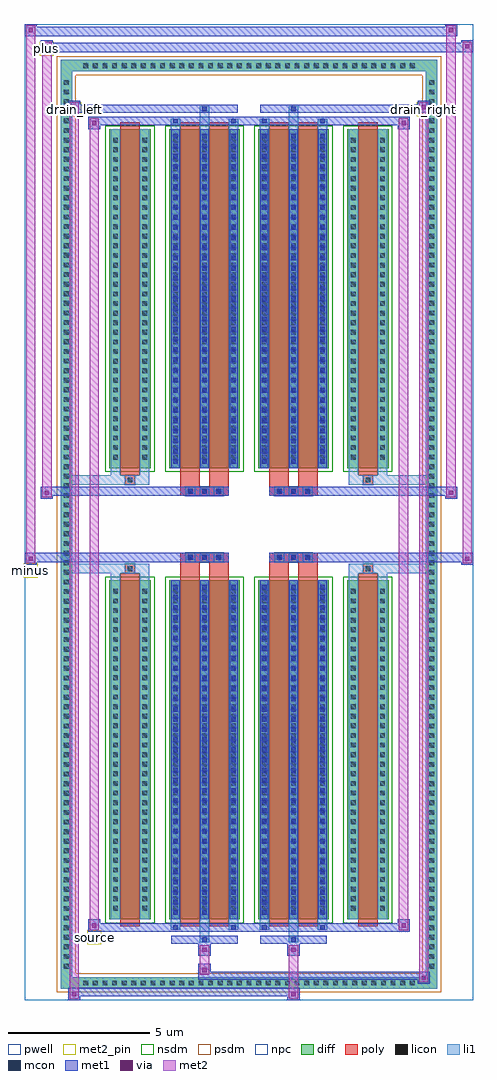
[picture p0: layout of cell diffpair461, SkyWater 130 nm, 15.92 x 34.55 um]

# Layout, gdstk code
import gdstk
lib = gdstk.Library(unit=1e-6, precision=5e-09)
def R(c, l, rs):  # rectangles x0, y0, x1, y1
    for r in rs: c.add(gdstk.rectangle(r[:2], r[2:], *l))
def A(c, l, x, y, w, h, nx, ny, dx, dy):  # array of equal rectangles
    R(c, l, [(x+i*dx, y+j*dy, x+i*dx+w, y+j*dy+h) for i in range(nx) for j in range(ny)])
def P(c, l, *ps):  # polygons
    for p in ps: c.add(gdstk.Polygon(p, *l))
pwell = (64, 44)
diff = (65, 20)
poly = (66, 20)
licon = (66, 44)
li1 = (67, 20)
mcon = (67, 44)
met1 = (68, 20)
via = (68, 44)
met2_pin = (69, 16)
met2 = (69, 20)
nsdm = (93, 44)
psdm = (94, 20)
npc = (95, 20)

diffpair461 = lib.new_cell('diffpair461')
R(diffpair461, pwell, [(-7.94,-16.84,7.94,17.71), (-5.26,-15.03,-0.01,-0.805), (0.01,-15.03,5.26,-0.805), (-5.26,0.805,-0.01,15.03), (0.01,0.805,5.26,15.03)])
A(diffpair461, diff, -5.985, -16.44, 0.41, 0.41, 35, 2, 0.34, 32.47)
A(diffpair461, diff, -6.67, -15.845, 0.41, 0.41, 1, 93, 0, 0.34)
A(diffpair461, diff, 6.26, -15.845, 0.41, 0.41, 1, 93, 0, 0.34)
R(diffpair461, diff, [(-5.985,-16.44,5.985,-16.03), (-6.67,-15.845,-6.26,15.845), (6.26,-15.845,6.67,15.845), (-4.95,-13.985,-3.47,-1.985), (-2.83,-13.985,-0.32,-1.985), (0.32,-13.985,2.83,-1.985), (3.47,-13.985,4.95,-1.985), (-4.95,1.985,-3.47,13.985), (-2.83,1.985,-0.32,13.985), (0.32,1.985,2.83,13.985), (3.47,1.985,4.95,13.985), (-5.985,16.03,5.985,16.44)])
P(diffpair461, diff, [(6.67,16.44),(-6.67,16.44),(-6.67,-16.03),(-6.26,-16.03),(-6.26,16.03),(6.26,16.03),(6.26,-16.03),(-6.26,-16.03),(-6.67,-16.03),(-6.67,-16.44),(6.67,-16.44)])
A(diffpair461, poly, -2.24, -1.335, 0.33, 0.33, 3, 2, 0.5, 2.34)
A(diffpair461, poly, 0.91, -1.335, 0.33, 0.33, 3, 2, 0.5, 2.34)
R(diffpair461, poly, [(-4.56,-14.235,-3.86,-1.735), (-2.44,-14.235,-1.74,-1.735), (-1.41,-14.235,-0.71,-1.735), (0.71,-14.235,1.41,-1.735), (1.74,-14.235,2.44,-1.735), (3.86,-14.235,4.56,-1.735), (-4.375,-1.735,-4.045,-1.405), (-4.375,-1.735,-4.045,-1.405), (-2.44,-1.735,-1.74,-1.335), (-1.41,-1.735,-0.71,-1.335), (0.71,-1.735,1.41,-1.335), (1.74,-1.735,2.44,-1.335), (4.045,-1.735,4.375,-1.405), (4.045,-1.735,4.375,-1.405), (-2.44,-1.335,-0.71,-1.005), (0.71,-1.335,2.44,-1.005), (-2.44,1.005,-0.71,1.335), (0.71,1.005,2.44,1.335), (-2.44,1.335,-1.74,1.735), (-1.41,1.335,-0.71,1.735), (0.71,1.335,1.41,1.735), (1.74,1.335,2.44,1.735), (-4.375,1.405,-4.045,1.735), (-4.375,1.405,-4.045,1.735), (4.045,1.405,4.375,1.735), (4.045,1.405,4.375,1.735), (-4.56,1.735,-3.86,14.235), (-2.44,1.735,-1.74,14.235), (-1.41,1.735,-0.71,14.235), (0.71,1.735,1.41,14.235), (1.74,1.735,2.44,14.235), (3.86,1.735,4.56,14.235)])
A(diffpair461, licon, -5.865, -16.32, 0.17, 0.17, 35, 2, 0.34, 32.47)
A(diffpair461, licon, -6.55, -15.725, 0.17, 0.17, 1, 93, 0, 0.34)
A(diffpair461, licon, 6.38, -15.725, 0.17, 0.17, 1, 93, 0, 0.34)
A(diffpair461, licon, -4.81, -13.68, 0.17, 0.17, 1, 34, 0, 0.34)
A(diffpair461, licon, -3.78, -13.68, 0.17, 0.17, 1, 34, 0, 0.34)
A(diffpair461, licon, -2.69, -13.68, 0.17, 0.17, 3, 34, 1.03, 0.34)
A(diffpair461, licon, 0.46, -13.68, 0.17, 0.17, 3, 34, 1.03, 0.34)
A(diffpair461, licon, 3.61, -13.68, 0.17, 0.17, 1, 34, 0, 0.34)
A(diffpair461, licon, 4.64, -13.68, 0.17, 0.17, 1, 34, 0, 0.34)
A(diffpair461, licon, -2.16, -1.255, 0.17, 0.17, 3, 2, 0.5, 2.34)
A(diffpair461, licon, 0.99, -1.255, 0.17, 0.17, 3, 2, 0.5, 2.34)
A(diffpair461, licon, -4.81, 2.29, 0.17, 0.17, 1, 34, 0, 0.34)
A(diffpair461, licon, -3.78, 2.29, 0.17, 0.17, 1, 34, 0, 0.34)
A(diffpair461, licon, -2.69, 2.29, 0.17, 0.17, 3, 34, 1.03, 0.34)
A(diffpair461, licon, 0.46, 2.29, 0.17, 0.17, 3, 34, 1.03, 0.34)
A(diffpair461, licon, 3.61, 2.29, 0.17, 0.17, 1, 34, 0, 0.34)
A(diffpair461, licon, 4.64, 2.29, 0.17, 0.17, 1, 34, 0, 0.34)
R(diffpair461, licon, [(-4.295,-1.655,-4.125,-1.485), (4.125,-1.655,4.295,-1.485), (-4.295,1.485,-4.125,1.655), (4.125,1.485,4.295,1.655)])
A(diffpair461, li1, -5.945, -16.4, 0.33, 0.33, 35, 2, 0.34, 32.47)
A(diffpair461, li1, -6.63, -15.805, 0.33, 0.33, 1, 93, 0, 0.34)
A(diffpair461, li1, 6.3, -15.805, 0.33, 0.33, 1, 93, 0, 0.34)
A(diffpair461, li1, -2.77, -13.985, 0.33, 12, 3, 2, 1.03, 15.97)
A(diffpair461, li1, 0.38, -13.985, 0.33, 12, 3, 2, 1.03, 15.97)
A(diffpair461, li1, -2.69, -13.83, 0.17, 0.17, 3, 33, 1.03, 0.36)
A(diffpair461, li1, -2.69, -13.83, 0.17, 11.69, 3, 2, 1.03, 15.97)
A(diffpair461, li1, 0.46, -13.83, 0.17, 0.17, 3, 33, 1.03, 0.36)
A(diffpair461, li1, 0.46, -13.83, 0.17, 11.69, 3, 2, 1.03, 15.97)
A(diffpair461, li1, -4.89, -13.76, 0.33, 0.33, 1, 34, 0, 0.34)
A(diffpair461, li1, -3.86, -13.76, 0.33, 0.33, 1, 34, 0, 0.34)
A(diffpair461, li1, -2.77, -13.76, 0.33, 0.33, 3, 34, 1.03, 0.34)
A(diffpair461, li1, 0.38, -13.76, 0.33, 0.33, 3, 34, 1.03, 0.34)
A(diffpair461, li1, 3.53, -13.76, 0.33, 0.33, 1, 34, 0, 0.34)
A(diffpair461, li1, 4.56, -13.76, 0.33, 0.33, 1, 34, 0, 0.34)
A(diffpair461, li1, -2.24, -1.335, 0.33, 0.33, 3, 2, 0.5, 2.34)
A(diffpair461, li1, 0.91, -1.335, 0.33, 0.33, 3, 2, 0.5, 2.34)
A(diffpair461, li1, -2.69, 2.14, 0.17, 0.17, 3, 33, 1.03, 0.36)
A(diffpair461, li1, 0.46, 2.14, 0.17, 0.17, 3, 33, 1.03, 0.36)
A(diffpair461, li1, -4.89, 2.21, 0.33, 0.33, 1, 34, 0, 0.34)
A(diffpair461, li1, -3.86, 2.21, 0.33, 0.33, 1, 34, 0, 0.34)
A(diffpair461, li1, -2.77, 2.21, 0.33, 0.33, 3, 34, 1.03, 0.34)
A(diffpair461, li1, 0.38, 2.21, 0.33, 0.33, 3, 34, 1.03, 0.34)
A(diffpair461, li1, 3.53, 2.21, 0.33, 0.33, 1, 34, 0, 0.34)
A(diffpair461, li1, 4.56, 2.21, 0.33, 0.33, 1, 34, 0, 0.34)
R(diffpair461, li1, [(-6.67,-16.44,-6.26,-16.03), (-6.67,-16.44,-6.26,-16.03), (-6.26,-16.44,6.26,-16.03), (6.26,-16.44,6.67,-16.03), (6.26,-16.44,6.67,-16.03), (-6.67,-16.03,-6.26,16.03), (6.26,-16.03,6.67,16.03), (-1.74,-14.79,-1.41,-13.985), (-1.66,-14.79,-1.49,-14.62), (1.41,-14.79,1.74,-13.985), (1.49,-14.79,1.66,-14.62), (-2.77,-14.36,-2.44,-13.985), (-2.69,-14.36,-2.52,-14.19), (-0.71,-14.36,-0.38,-13.985), (-0.63,-14.36,-0.46,-14.19), (0.38,-14.36,0.71,-13.985), (0.46,-14.36,0.63,-14.19), (2.44,-14.36,2.77,-13.985), (2.52,-14.36,2.69,-14.19), (-4.89,-13.985,-4.56,-1.985), (-3.86,-13.985,-3.53,-1.985), (3.53,-13.985,3.86,-1.985), (4.56,-13.985,4.89,-1.985), (-4.89,-1.985,-4.56,-1.405), (-3.86,-1.985,-3.53,-1.405), (3.53,-1.985,3.86,-1.405), (4.56,-1.985,4.89,-1.405), (-6.67,-1.735,-4.375,-1.405), (-4.89,-1.735,-4.375,-1.405), (-4.375,-1.735,-4.045,-1.405), (-4.045,-1.735,-3.53,-1.405), (3.53,-1.735,4.045,-1.405), (4.045,-1.735,4.375,-1.405), (4.045,-1.735,6.67,-1.405), (4.375,-1.735,4.89,-1.405), (-6.67,1.405,-4.375,1.735), (-4.89,1.405,-4.375,1.735), (-4.89,1.405,-4.56,1.985), (-4.375,1.405,-4.045,1.735), (-4.045,1.405,-3.53,1.735), (-3.86,1.405,-3.53,1.985), (3.53,1.405,4.045,1.735), (3.53,1.405,3.86,1.985), (4.045,1.405,4.375,1.735), (4.045,1.405,6.67,1.735), (4.375,1.405,4.89,1.735), (4.56,1.405,4.89,1.985), (-4.89,1.985,-4.56,13.985), (-3.86,1.985,-3.53,13.985), (3.53,1.985,3.86,13.985), (4.56,1.985,4.89,13.985), (-2.77,13.985,-2.44,14.36), (-1.74,13.985,-1.41,14.79), (-0.71,13.985,-0.38,14.36), (0.38,13.985,0.71,14.36), (1.41,13.985,1.74,14.79), (2.44,13.985,2.77,14.36), (-2.69,14.19,-2.52,14.36), (-0.63,14.19,-0.46,14.36), (0.46,14.19,0.63,14.36), (2.52,14.19,2.69,14.36), (-1.66,14.62,-1.49,14.79), (1.49,14.62,1.66,14.79), (-6.67,16.03,-6.26,16.44), (-6.67,16.03,-6.26,16.44), (-6.26,16.03,6.26,16.44), (6.26,16.03,6.67,16.44), (6.26,16.03,6.67,16.44)])
A(diffpair461, mcon, -2.69, -13.83, 0.17, 0.17, 3, 33, 1.03, 0.36)
A(diffpair461, mcon, 0.46, -13.83, 0.17, 0.17, 3, 33, 1.03, 0.36)
A(diffpair461, mcon, -2.16, -1.255, 0.17, 0.17, 3, 2, 0.5, 2.34)
A(diffpair461, mcon, 0.99, -1.255, 0.17, 0.17, 3, 2, 0.5, 2.34)
A(diffpair461, mcon, -2.69, 2.14, 0.17, 0.17, 3, 33, 1.03, 0.36)
A(diffpair461, mcon, 0.46, 2.14, 0.17, 0.17, 3, 33, 1.03, 0.36)
R(diffpair461, mcon, [(-1.66,-14.79,-1.49,-14.62), (1.49,-14.79,1.66,-14.62), (-2.69,-14.36,-2.52,-14.19), (-0.63,-14.36,-0.46,-14.19), (0.46,-14.36,0.63,-14.19), (2.52,-14.36,2.69,-14.19), (-2.69,14.19,-2.52,14.36), (-0.63,14.19,-0.46,14.36), (0.46,14.19,0.63,14.36), (2.52,14.19,2.69,14.36), (-1.66,14.62,-1.49,14.79), (1.49,14.62,1.66,14.79)])
A(diffpair461, met1, -2.75, -13.985, 0.29, 12, 3, 2, 1.03, 15.97)
A(diffpair461, met1, 0.4, -13.985, 0.29, 12, 3, 2, 1.03, 15.97)
A(diffpair461, met1, -2.75, -13.89, 0.29, 0.29, 3, 33, 1.03, 0.36)
A(diffpair461, met1, 0.4, -13.89, 0.29, 0.29, 3, 33, 1.03, 0.36)
A(diffpair461, met1, -2.22, -1.315, 0.29, 0.29, 3, 2, 0.5, 2.34)
A(diffpair461, met1, 0.93, -1.315, 0.29, 0.29, 3, 2, 0.5, 2.34)
A(diffpair461, met1, -2.75, 2.08, 0.29, 0.29, 3, 33, 1.03, 0.36)
A(diffpair461, met1, 0.4, 2.08, 0.29, 0.29, 3, 33, 1.03, 0.36)
R(diffpair461, met1, [(-6.4,-16.84,-5.97,-16.41), (1.36,-16.84,1.79,-16.41), (-6.4,-16.7,1.79,-16.41), (5.97,-16.27,6.4,-15.84), (-1.79,-16.13,6.4,-15.84), (-1.79,-15.99,-1.36,-15.56), (-1.79,-15.28,-1.36,-14.85), (1.36,-15.28,1.79,-14.85), (-2.75,-14.85,-0.4,-14.56), (-1.72,-14.85,-1.43,-14.56), (0.4,-14.85,2.75,-14.56), (1.43,-14.85,1.72,-14.56), (-5.69,-14.42,-5.26,-13.99), (-5.69,-14.42,-2.75,-14.13), (-2.75,-14.42,-2.46,-14.13), (-2.75,-14.42,-0.4,-14.13), (-0.69,-14.42,-0.4,-14.13), (-0.4,-14.42,0.4,-14.13), (0.4,-14.42,0.69,-14.13), (0.4,-14.42,2.75,-14.13), (2.46,-14.42,2.75,-14.13), (2.75,-14.42,5.69,-14.13), (5.26,-14.42,5.69,-13.99), (-7.94,-1.435,-7.51,-1.005), (7.51,-1.435,7.94,-1.005), (-7.94,-1.335,-0.71,-1.005), (-2.44,-1.335,-0.71,-1.005), (0.71,-1.335,2.44,-1.005), (0.71,-1.335,7.94,-1.005), (-7.37,0.905,-6.94,1.335), (6.94,0.905,7.37,1.335), (-7.37,1.005,-2.44,1.335), (-2.44,1.005,-0.71,1.335), (0.71,1.005,2.44,1.335), (2.44,1.005,7.37,1.335), (-5.69,13.99,-5.26,14.42), (5.26,13.99,5.69,14.42), (-5.69,14.13,-2.75,14.42), (-2.75,14.13,-2.46,14.42), (-2.75,14.13,-0.4,14.42), (-0.69,14.13,-0.4,14.42), (-0.4,14.13,0.4,14.42), (0.4,14.13,0.69,14.42), (0.4,14.13,2.75,14.42), (2.46,14.13,2.75,14.42), (2.75,14.13,5.69,14.42), (-6.4,14.56,-5.97,14.99), (-6.4,14.56,-2.75,14.85), (-2.75,14.56,-0.4,14.85), (-1.72,14.56,-1.43,14.85), (0.4,14.56,2.75,14.85), (1.43,14.56,1.72,14.85), (2.75,14.56,6.4,14.85), (5.97,14.56,6.4,14.99), (-7.37,16.71,-6.94,17.14), (-7.37,16.71,-5.26,17.04), (-5.26,16.71,5.26,17.04), (5.26,16.71,7.94,17.04), (7.51,16.71,7.94,17.14), (-7.94,17.28,-7.51,17.71), (-7.94,17.28,-5.26,17.61), (-5.26,17.28,5.26,17.61), (5.26,17.28,7.37,17.61), (6.94,17.28,7.37,17.71)])
R(diffpair461, via, [(-6.26,-16.7,-6.11,-16.55), (1.5,-16.7,1.65,-16.55), (6.11,-16.13,6.26,-15.98), (-1.65,-15.85,-1.5,-15.7), (-1.65,-15.14,-1.5,-14.99), (1.5,-15.14,1.65,-14.99), (-5.55,-14.28,-5.4,-14.13), (5.4,-14.28,5.55,-14.13), (-7.8,-1.295,-7.65,-1.145), (7.65,-1.295,7.8,-1.145), (-7.23,1.045,-7.08,1.195), (7.08,1.045,7.23,1.195), (-5.55,14.13,-5.4,14.28), (5.4,14.13,5.55,14.28), (-6.26,14.7,-6.11,14.85), (6.11,14.7,6.26,14.85), (-7.23,16.85,-7.08,17), (7.65,16.85,7.8,17), (-7.8,17.42,-7.65,17.57), (7.08,17.42,7.23,17.57)])
R(diffpair461, met2_pin, [(-5.725,-14.87,-5.225,-14.37), (-7.975,-1.885,-7.475,-1.385), (-6.435,14.44,-5.935,14.94), (5.935,14.44,6.435,14.94), (-7.405,16.59,-6.905,17.09)])
R(diffpair461, met2, [(-6.35,-16.79,-6.02,-16.46), (-6.35,-16.79,-6.02,14.94), (1.41,-16.79,1.74,-16.46), (1.41,-16.46,1.74,-15.23), (6.02,-16.22,6.35,-15.89), (6.02,-16.22,6.35,14.94), (-1.74,-15.94,-1.41,-15.61), (-1.74,-15.61,-1.41,-15.23), (-1.74,-15.23,-1.41,-14.9), (1.41,-15.23,1.74,-14.9), (-5.64,-14.37,-5.31,-14.04), (-5.64,-14.37,-5.31,14.37), (5.31,-14.37,5.64,-14.04), (5.31,-14.37,5.64,14.37), (-7.89,-1.385,-7.56,-1.055), (-7.89,-1.385,-7.56,17.66), (7.56,-1.385,7.89,-1.055), (7.56,-1.385,7.89,17.09), (-7.32,0.955,-6.99,1.285), (-7.32,0.955,-6.99,17.09), (6.99,0.955,7.32,1.285), (6.99,0.955,7.32,17.66), (-5.64,14.04,-5.31,14.37), (5.31,14.04,5.64,14.37), (-6.35,14.61,-6.02,14.94), (6.02,14.61,6.35,14.94), (-7.32,16.76,-6.99,17.09), (7.56,16.76,7.89,17.09), (-7.89,17.33,-7.56,17.66), (6.99,17.33,7.32,17.66)])
P(diffpair461, met2, [(7.89,-1.385),(7.89,-1.385),(7.89,-1.055),(7.89,-1.055)],
  [(7.89,16.76),(7.89,16.76),(7.89,17.09),(7.89,17.09)],
  [(-7.56,-1.385),(-7.56,-1.385),(-7.56,-1.055),(-7.56,-1.055)],
  [(-7.56,17.33),(-7.56,17.33),(-7.56,17.66),(-7.56,17.66)],
  [(7.32,0.955),(7.32,0.955),(7.32,1.285),(7.32,1.285)],
  [(7.32,17.33),(7.32,17.33),(7.32,17.66),(7.32,17.66)],
  [(-6.99,0.955),(-6.99,0.955),(-6.99,1.285),(-6.99,1.285)],
  [(-6.99,16.76),(-6.99,16.76),(-6.99,17.09),(-6.99,17.09)],
  [(-6.02,-16.79),(-6.02,-16.79),(-6.02,-16.46),(-6.02,-16.46)],
  [(-6.02,14.61),(-6.02,14.61),(-6.02,14.94),(-6.02,14.94)],
  [(6.35,-16.22),(6.35,-16.22),(6.35,-15.89),(6.35,-15.89)],
  [(6.35,14.61),(6.35,14.61),(6.35,14.94),(6.35,14.94)],
  [(-5.31,-14.37),(-5.31,-14.37),(-5.31,-14.04),(-5.31,-14.04)],
  [(-5.31,14.04),(-5.31,14.04),(-5.31,14.37),(-5.31,14.37)],
  [(5.64,-14.37),(5.64,-14.37),(5.64,-14.04),(5.64,-14.04)],
  [(5.64,14.04),(5.64,14.04),(5.64,14.37),(5.64,14.37)])
R(diffpair461, nsdm, [(-5.08,-14.115,-3.34,-1.855), (-2.96,-14.115,-0.19,-1.855), (0.19,-14.115,2.96,-1.855), (3.34,-14.115,5.08,-1.855), (-5.08,1.855,-3.34,14.115), (-2.96,1.855,-0.19,14.115), (0.19,1.855,2.96,14.115), (3.34,1.855,5.08,14.115)])
P(diffpair461, psdm, [(6.8,16.57),(-6.8,16.57),(-6.8,-15.9),(-6.13,-15.9),(-6.13,15.9),(6.13,15.9),(6.13,-15.9),(-6.13,-15.9),(-6.8,-15.9),(-6.8,-16.57),(6.8,-16.57)])
A(diffpair461, npc, -2.26, -1.355, 0.37, 0.37, 3, 2, 0.5, 2.34)
A(diffpair461, npc, 0.89, -1.355, 0.37, 0.37, 3, 2, 0.5, 2.34)
R(diffpair461, npc, [(-4.395,-1.755,-4.025,-1.385), (4.025,-1.755,4.395,-1.385), (-2.26,-1.355,-1.39,-0.985), (-2.26,-1.355,-1.39,-0.985), (-1.76,-1.355,-0.89,-0.985), (-1.76,-1.355,-0.89,-0.985), (0.89,-1.355,1.76,-0.985), (0.89,-1.355,1.76,-0.985), (1.39,-1.355,2.26,-0.985), (1.39,-1.355,2.26,-0.985), (-2.26,0.985,-1.39,1.355), (-2.26,0.985,-1.39,1.355), (-1.76,0.985,-0.89,1.355), (-1.76,0.985,-0.89,1.355), (0.89,0.985,1.76,1.355), (0.89,0.985,1.76,1.355), (1.39,0.985,2.26,1.355), (1.39,0.985,2.26,1.355), (-4.395,1.385,-4.025,1.755), (4.025,1.385,4.395,1.755)])
diffpair461.add(gdstk.Label('minus', (-7.725,-1.635), layer=69, texttype=5))
diffpair461.add(gdstk.Label('drain_right', (6.185,14.69), layer=69, texttype=5))
diffpair461.add(gdstk.Label('drain_left', (-6.185,14.69), layer=69, texttype=5))
diffpair461.add(gdstk.Label('source', (-5.475,-14.62), layer=69, texttype=5))
diffpair461.add(gdstk.Label('plus', (-7.155,16.84), layer=69, texttype=5))

lib.write_gds('diffpair461.gds')
